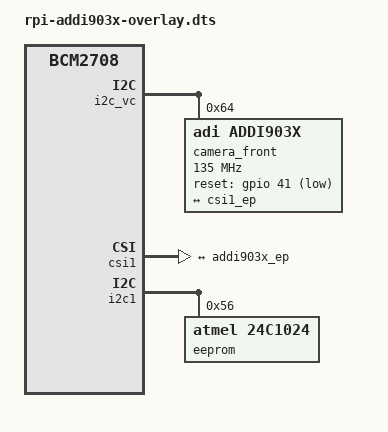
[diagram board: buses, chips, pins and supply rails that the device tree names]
// Definitions for ADDI903x camera module
/dts-v1/;
/plugin/;

/{
	compatible = "brcm,bcm2708";

	fragment@0 {
		target = <&i2c_vc>;
		__overlay__ {
			#address-cells = <1>;
			#size-cells = <0>;
			status = "okay";

			camera_front@64 {
				compatible = "adi,addi903x";
				reg = <0x64>;

				reset-gpios = <&gpio 41 1>;

				clocks = <&addi903x_clk>;
				clock-names = "xclk";
				clock-frequency = <135000000>;

				addi903x_clk: camera-clk {
					compatible = "fixed-clock";
					#clock-cells = <0>;
					clock-frequency = <135000000>;
				};

				port {
					addi903x_ep: endpoint {
						remote-endpoint = <&csi1_ep>;
						clock-lanes = <0>;
						data-lanes = <1 2>;
					};
				};
			};
		};
	};

	fragment@1 {
		target = <&csi1>;
		__overlay__ {
			status = "okay";

			port {
				csi1_ep: endpoint {
					remote-endpoint = <&addi903x_ep>;
				};
			};
		};
	};

	fragment@2 {
		target = <&i2c0_pins>;
		__overlay__ {
			brcm,pins = <44 45>;
			brcm,function = <5>; /* alt1 */
		};
	};

	fragment@3 {
		target = <&i2c_vc>;
		__overlay__ {
			status = "okay";
		};
	};

	fragment@4 {
		target = <&i2c1>;
		__overlay__ {
			pinctrl-0 = <&i2c1_pins>;
			status = "okay";
		};
	};

	fragment@5 {
		target = <&i2c1>;
		__overlay__ {
			#address-cells = <1>;
			#size-cells = <0>;

			eeprom: eeprom@56 {
				compatible = "atmel,24c1024";
				reg = <0x56>;
				pagesize = <32>;
			};
		};
	};

	fragment@6 {
		target = <&i2c1_pins>;
		__overlay__ {
			brcm,pins = <2 3>;
			brcm,function = <4>; /* alt 0 */
		};
	};
};
